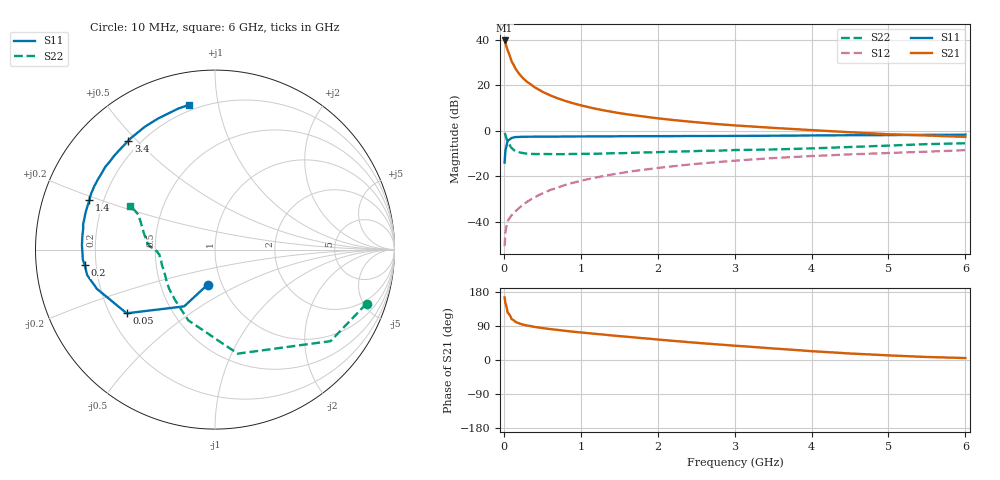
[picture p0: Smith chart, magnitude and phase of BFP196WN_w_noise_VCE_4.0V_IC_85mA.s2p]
! Infineon Technologies  Discrete & RF Semiconductors
! BFP196WN
! VCE =  4.0 V,  IC =  85 mA
! Common Emitter S-Parameters:  Jan 2017
# GHz  S  MA  R  50
!  f  S11  S21  S12  S22
! GHz  MAG  ANG  MAG  ANG  MAG  ANG  MAG  ANG
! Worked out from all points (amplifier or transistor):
!   77 points, 10 MHz to 6 GHz, reference 50 ohm
!   highest |S21| = 39.7 dB at 10 MHz (marker M1)
!   |S21| within 3 dB of that: start of sweep to 37.41 MHz
!   unconditionally stable (mu >= 1): 483.6 MHz to 2.674 GHz
!   at 130 MHz: K = 0.69, MSG = 32.4 dB, |S12| = -36.1 dB
!   at 2.2 GHz: K = 1.02, MAG = 9.4 dB, |S12| = -15.6 dB
!   at 6 GHz: K = 0.92, MSG = 2.9 dB, |S12| = -8.5 dB
!   lowest NFmin = 1.64 dB at 450 MHz
!   S11 on the Smith chart (normalised r, x): 10 MHz: 0.86, -0.35; 50 MHz: 0.27, -0.30; 200 MHz: 0.16, -0.06; 1.4 GHz: 0.15, +0.19; 3.4 GHz: 0.16, +0.47; 6 GHz: 0.17, +0.82
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0.01  0.1996 -101.9  96.53 165.1  0.0029 84.3  0.8962 -19.6
0.02  0.3597 -118.5  86.16 150.7  0.0059 70.0  0.8213 -38.4
0.05  0.6067 -144.2  58.44 124.9  0.0103 50.9  0.5932 -77.7
0.1  0.6932 -161.6  33.67 108.2  0.0138 53.5  0.4212 -110.7
0.15  0.7261 -168.7  23.38 100.8  0.0169 56.6  0.3577 -128.7
0.2  0.731 -173.1  17.71 96.5  0.0201 61.2  0.3359 -139.6
0.25  0.7388 -175.8  14.26 93.3  0.0236 62.8  0.3227 -146.5
0.3  0.7384 -178.2  11.94 91.0  0.0273 65.4  0.3131 -152.1
0.4  0.7415 178.4  9.009 87.2  0.0344 69.1  0.3078 -158.5
0.5  0.7423 175.6  7.213 84.3  0.0418 70.7  0.3079 -163.0
0.6  0.7431 173.2  6.028 81.6  0.0496 71.2  0.3068 -166.5
0.7  0.7434 171.2  5.163 79.4  0.0562 71.7  0.3053 -168.8
0.9  0.7479 167.1  4.014 74.7  0.0719 71.3  0.3089 -171.8
1.1  0.7501 163.6  3.298 70.8  0.0866 71.1  0.3111 -174.5
1.4  0.7518 158.5  2.615 64.9  0.1089 69.3  0.3201 -177.1
1.7  0.758 153.8  2.182 59.5  0.1307 67.4  0.3286 -178.8
2.1  0.7607 147.6  1.799 52.3  0.1588 63.9  0.343 179.1
3.1  0.7697 132.8  1.278 36.4  0.2255 55.0  0.3783 174.4
3.4  0.7754 128.5  1.186 32.0  0.2442 52.5  0.385 172.4
4.1  0.789 118.6  1.011 22.1  0.2824 46.2  0.4146 165.1
5.1  0.8038 107.9  0.827 11.3  0.3282 38.4  0.4783 155.0
6  0.8192 100.1  0.732 5.1  0.3744 32.3  0.5308 152.9
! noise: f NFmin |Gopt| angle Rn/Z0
0.45  1.64  0.59  -175  0.05
0.9  1.77  0.6  -168  0.07
1.9  2.75  0.7  -146  0.22
2.4  3.53  0.72  -138  0.37
